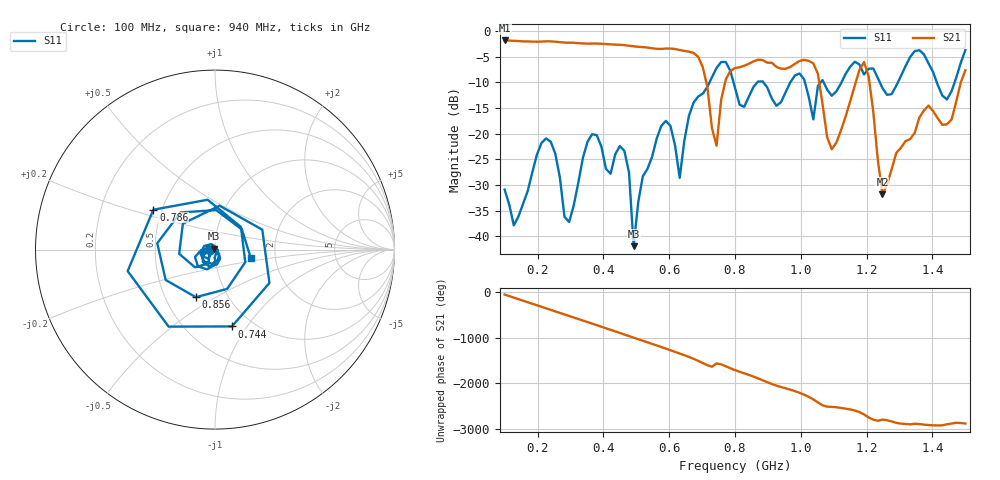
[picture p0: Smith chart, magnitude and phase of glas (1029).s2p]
! NanoVNA-App
! Date: 2025-09-25 16:03:28
! Start: 100MHz Stop: 1,5GHz Points: 101
! S-Parameter data: F S11 S21 S12 S22
# Hz S RI R 50
!  Frequency  S11_Real  S11_Imag  S21_Real  S21_Imag  S12_Real  S12_Imag  S22_Real  S22_Imag
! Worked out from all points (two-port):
!   101 points, 100 MHz to 1.5 GHz, reference 50 ohm
!   highest |S21| = -1.80 dB at 100 MHz (marker M1); lowest = -31.8 dB at 1.248 GHz (marker M2)
!   |S21| within 3 dB of the highest: start of sweep to 684.6 MHz
!   lowest |S11| = -42.0 dB at 492 MHz (marker M3), VSWR 1.02, Z = 49.5 + j0.604 ohm
!   |S11| at or under -10 dB: start of sweep to 722.5 MHz; 795.6 MHz to 867.6 MHz (72.05 MHz wide, 8.66 % of centre); 886.4 MHz to 967.9 MHz (81.49 MHz wide, 8.79 % of centre) (the widest 3 of 7)
!   S12 and S22 are empty: the file has one direction only
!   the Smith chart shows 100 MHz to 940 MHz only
!   S11 on the Smith chart (normalised r, x): 100 MHz: 0.94, -0.01; 744 MHz: 0.81, -0.85; 786 MHz: 0.45, +0.24; 856 MHz: 0.71, -0.41; 940 MHz: 1.49, -0.14
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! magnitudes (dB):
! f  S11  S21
! 100 MHz  -30.9  -1.8
! 128 MHz  -37.9  -1.9
! 226 MHz  -20.9  -2.0
! 296 MHz  -37.2  -2.2
! 338 MHz  -24.7  -2.4
! 464 MHz  -23.4  -2.7
! 492 MHz  -42.0  -2.9
! 576 MHz  -18.5  -3.5
! 632 MHz  -28.6  -3.7
! 702 MHz  -12.2  -7.0
! 744 MHz  -7.2  -22.3
! 786 MHz  -7.8  -7.7
! 800 MHz  -11.0  -7.2
! 856 MHz  -10.9  -5.9
! 940 MHz  -13.8  -7.3
! 996 MHz  -8.2  -5.8
! 1.038 GHz  -17.2  -6.3
! 1.094 GHz  -12.6  -23.0
! 1.192 GHz  -8.4  -6.0
! 1.248 GHz  -11.1  -31.8
! 1.276 GHz  -12.3  -26.9
! 1.5 GHz  -3.7  -7.6
